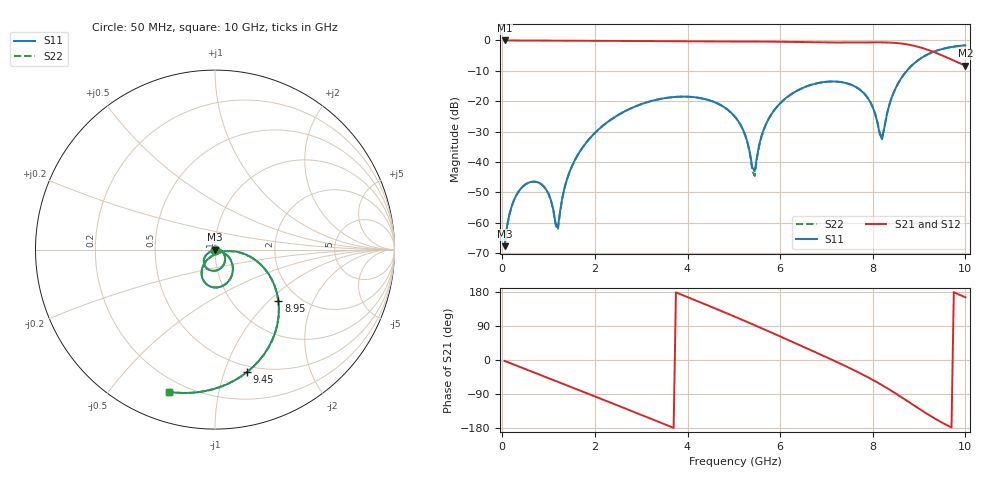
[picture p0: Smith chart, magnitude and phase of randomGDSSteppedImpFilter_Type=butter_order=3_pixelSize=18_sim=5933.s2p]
! freq	dB(S11)	phase(S11)	dB(S12)	phase(S12)
!  dB(S21)	phase(S21)	dB(S22)	phase(S22)
!S-par simulation data
#  GHz  S  DB  R 50
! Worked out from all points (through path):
!   200 points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, 50 MHz to 10 GHz, reference 50 ohm
!   highest |S21| = 0.00 dB at 50 MHz (marker M1); lowest = -8.3 dB at 10 GHz (marker M2)
!   group delay of S21, straight-line fit = 151 ps
!   lowest |S11| = -67.7 dB at 50 MHz (marker M3), VSWR 1.00, Z = 50 - j0.0401 ohm
!   |S11| at or under -10 dB: start of sweep to 8.735 GHz
!   |S22| runs from -67.7 to -1.6 dB; largest |S21 - S12| = 0
!   S11 on the Smith chart (normalised r, x): 50 MHz: 1.00, -0.00; 8.95 GHz: 1.58, -1.15; 9.45 GHz: 0.44, -1.20; 10 GHz: 0.14, -0.72
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0.05  -67.70 -76.7  -0.00 -2.5  -0.00 -2.5  -67.70 -76.7
0.25  -52.64 -91.9  -0.02 -12.1  -0.02 -12.1  -52.64 -91.8
0.6  -46.64 -115.8  -0.03 -28.8  -0.03 -28.8  -46.64 -115.5
0.95  -49.13 -140.7  -0.05 -45.6  -0.05 -45.6  -49.14 -139.7
1.2  -61.42 108.2  -0.07 -57.6  -0.07 -57.6  -62.36 107.0
1.4  -45.52 34.5  -0.08 -67.2  -0.08 -67.2  -45.56 33.1
1.75  -34.87 10.8  -0.10 -84.0  -0.10 -84.0  -34.88 10.1
2.5  -24.55 -28.3  -0.16 -120.4  -0.16 -120.4  -24.55 -28.7
3.4  -19.28 -72.7  -0.26 -164.4  -0.26 -164.4  -19.28 -73.0
4.2  -18.78 -111.4  -0.33 156.0  -0.33 156.0  -18.78 -111.9
5.05  -25.60 -150.0  -0.34 112.8  -0.34 112.8  -25.62 -151.3
5.25  -31.34 -153.6  -0.35 102.4  -0.35 102.4  -31.42 -156.2
5.45  -42.99 -65.6  -0.36 91.8  -0.36 91.8  -44.57 -61.3
5.6  -31.37 -18.9  -0.37 83.8  -0.37 83.8  -31.47 -16.1
5.8  -24.53 -22.0  -0.39 73.1  -0.39 73.1  -24.55 -20.7
6.7  -14.46 -65.6  -0.60 23.9  -0.60 23.9  -14.46 -65.2
7.75  -16.54 -120.4  -0.65 -36.4  -0.65 -36.4  -16.54 -119.9
8.2  -32.52 -56.7  -0.63 -66.3  -0.63 -66.3  -32.10 -56.9
8.35  -21.61 -5.5  -0.70 -77.2  -0.70 -77.2  -21.56 -6.1
8.95  -6.84 -39.1  -1.97 -124.7  -1.97 -124.7  -6.83 -39.1
9.45  -3.03 -75.3  -4.62 -162.2  -4.62 -162.2  -3.03 -75.3
10  -1.59 -107.8  -8.34 165.4  -8.34 165.4  -1.59 -107.7
